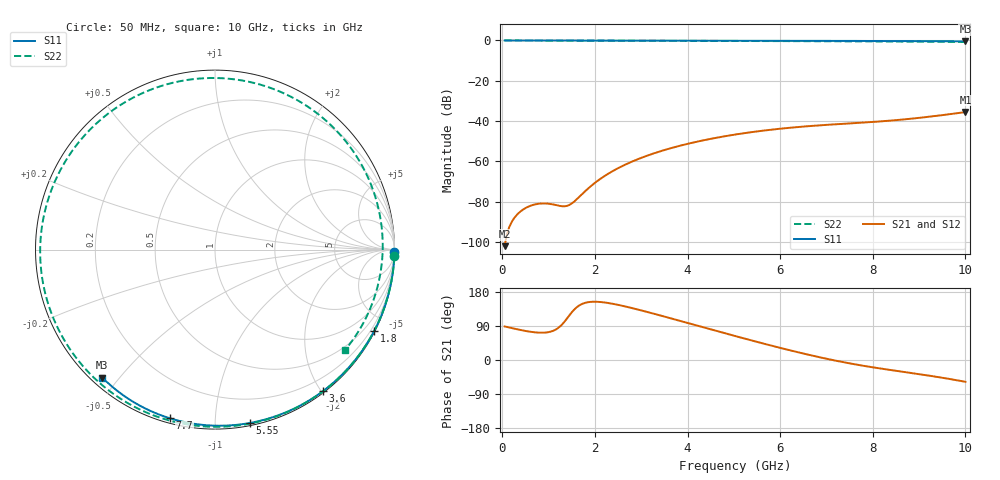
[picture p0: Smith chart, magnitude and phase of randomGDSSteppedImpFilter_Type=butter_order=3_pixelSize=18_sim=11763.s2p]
! freq	dB(S11)	phase(S11)	dB(S12)	phase(S12)
!  dB(S21)	phase(S21)	dB(S22)	phase(S22)
!S-par simulation data
#  GHz  S  DB  R 50
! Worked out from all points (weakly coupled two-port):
!   200 points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, 50 MHz to 10 GHz, reference 50 ohm
!   highest |S21| = -35.58 dB at 10 GHz (marker M1); lowest = -102.2 dB at 50 MHz (marker M2)
!   lowest |S11| = -0.4 dB at 10 GHz (marker M3), VSWR 39.01, Z = 1.54 - j22.6 ohm
!   |S11| at or under -10 dB: nowhere
!   |S22| runs from -0.8 to 0.0 dB; largest |S21 - S12| = 0
!   S11 on the Smith chart (normalised r, x): 50 MHz: open; 1.8 GHz: 0.04, -4.18; 3.6 GHz: 0.02, -2.02; 5.55 GHz: 0.02, -1.22; 7.7 GHz: 0.02, -0.77; 10 GHz: 0.03, -0.45
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0.05  -0.00 -0.8  -102.17 88.6  -102.17 88.6  -0.00 -2.2
0.75  -0.01 -11.3  -81.23 72.5  -81.23 72.5  -0.04 -32.3
1.55  -0.03 -23.2  -80.07 132.7  -80.07 132.7  -0.08 -65.4
1.75  -0.03 -26.2  -75.72 149.3  -75.72 149.3  -0.09 -73.4
1.8  -0.03 -26.9  -74.64 151.2  -74.64 151.2  -0.09 -75.4
2.1  -0.04 -31.3  -69.02 153.2  -69.02 153.2  -0.11 -87.1
2.45  -0.05 -36.4  -64.04 146.8  -64.04 146.8  -0.12 -100.4
2.9  -0.06 -42.8  -59.22 134.0  -59.22 134.0  -0.14 -117.1
3.4  -0.07 -49.9  -55.13 117.9  -55.13 117.9  -0.16 -135.2
3.6  -0.07 -52.6  -53.75 111.3  -53.75 111.3  -0.17 -142.3
4.35  -0.09 -62.9  -49.55 86.0  -49.55 86.0  -0.21 -168.9
5.05  -0.11 -72.2  -46.65 62.5  -46.65 62.5  -0.25 165.9
5.55  -0.13 -78.6  -45.03 46.2  -45.03 46.2  -0.29 147.4
6.15  -0.15 -86.2  -43.49 27.4  -43.49 27.4  -0.33 124.2
6.7  -0.18 -93.0  -42.41 11.4  -42.41 11.4  -0.37 102.0
7.2  -0.21 -99.1  -41.62 -1.8  -41.62 -1.8  -0.41 81.0
7.7  -0.24 -105.0  -40.92 -13.2  -40.92 -13.2  -0.44 59.4
8.35  -0.29 -112.6  -39.87 -25.8  -39.87 -25.8  -0.50 31.1
8.75  -0.32 -117.2  -39.04 -32.8  -39.04 -32.8  -0.55 13.8
9.15  -0.36 -121.8  -38.06 -40.0  -38.06 -40.0  -0.60 -3.1
9.55  -0.40 -126.3  -36.94 -47.8  -36.94 -47.8  -0.67 -19.6
10  -0.45 -131.4  -35.58 -57.5  -35.58 -57.5  -0.77 -37.6
